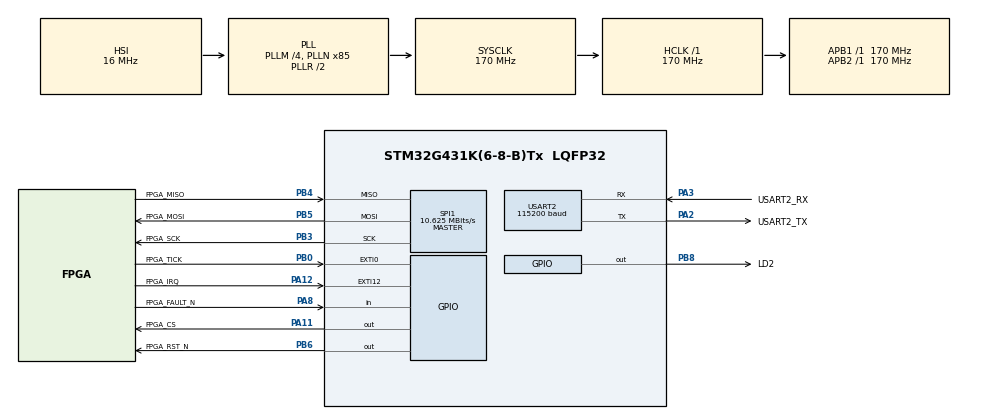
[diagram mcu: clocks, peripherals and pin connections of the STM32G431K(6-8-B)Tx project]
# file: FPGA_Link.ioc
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Dma.Request0=SPI1_RX
Dma.Request1=SPI1_TX
Dma.SPI1_RX.0.Direction=DMA_PERIPH_TO_MEMORY
Dma.SPI1_RX.0.EventEnable=DISABLE
Dma.SPI1_RX.0.Instance=DMA1_Channel1
Dma.SPI1_RX.0.MemDataAlignment=DMA_MDATAALIGN_BYTE
Dma.SPI1_RX.0.MemInc=DMA_MINC_ENABLE
Dma.SPI1_RX.0.Mode=DMA_NORMAL
Dma.SPI1_RX.0.PeriphDataAlignment=DMA_PDATAALIGN_BYTE
Dma.SPI1_RX.0.PeriphInc=DMA_PINC_DISABLE
Dma.SPI1_RX.0.Polarity=HAL_DMAMUX_REQ_GEN_RISING
Dma.SPI1_RX.0.Priority=DMA_PRIORITY_LOW
Dma.SPI1_RX.0.RequestNumber=1
Dma.SPI1_RX.0.SignalID=NONE
Dma.SPI1_RX.0.SyncEnable=DISABLE
Dma.SPI1_RX.0.SyncPolarity=HAL_DMAMUX_SYNC_NO_EVENT
Dma.SPI1_RX.0.SyncRequestNumber=1
Dma.SPI1_RX.0.SyncSignalID=NONE
Dma.SPI1_TX.1.Direction=DMA_MEMORY_TO_PERIPH
Dma.SPI1_TX.1.EventEnable=DISABLE
Dma.SPI1_TX.1.Instance=DMA1_Channel2
Dma.SPI1_TX.1.MemDataAlignment=DMA_MDATAALIGN_BYTE
Dma.SPI1_TX.1.MemInc=DMA_MINC_ENABLE
Dma.SPI1_TX.1.Mode=DMA_NORMAL
Dma.SPI1_TX.1.PeriphDataAlignment=DMA_PDATAALIGN_BYTE
Dma.SPI1_TX.1.PeriphInc=DMA_PINC_DISABLE
Dma.SPI1_TX.1.Polarity=HAL_DMAMUX_REQ_GEN_RISING
Dma.SPI1_TX.1.Priority=DMA_PRIORITY_LOW
Dma.SPI1_TX.1.RequestNumber=1
Dma.SPI1_TX.1.SignalID=NONE
Dma.SPI1_TX.1.SyncEnable=DISABLE
Dma.SPI1_TX.1.SyncPolarity=HAL_DMAMUX_SYNC_NO_EVENT
Dma.SPI1_TX.1.SyncRequestNumber=1
Dma.SPI1_TX.1.SyncSignalID=NONE
Mcu.Family=STM32G4
Mcu.Name=STM32G431K(6-8-B)Tx
Mcu.Package=LQFP32
NVIC.DMA1_Channel1_IRQn=true\:1\:0\:false\:false\:true\:false\:true\:true
NVIC.DMA1_Channel2_IRQn=true\:0\:0\:false\:false\:true\:false\:true\:true
NVIC.EXTI0_IRQn=true\:1\:0\:false\:false\:true\:true\:true\:true
NVIC.EXTI15_10_IRQn=true\:2\:0\:false\:false\:true\:true\:true\:true
NVIC.PriorityGroup=NVIC_PRIORITYGROUP_4
PA11.GPIO_Label=FPGA_CS
PA11.GPIO_Speed=GPIO_SPEED_FREQ_VERY_HIGH
PA11.PinState=GPIO_PIN_SET
PA11.Signal=GPIO_Output
PA12.GPIO_Label=FPGA_IRQ
PA12.GPIO_ModeDefaultEXTI=GPIO_MODE_IT_RISING
PA12.GPIO_PuPd=GPIO_PULLDOWN
PA12.Signal=GPXTI12
PA13.Mode=Serial_Wire
PA13.Signal=SYS_JTMS-SWDIO
PA14.Mode=Serial_Wire
PA14.Signal=SYS_JTCK-SWCLK
PA2.GPIO_Label=USART2_TX
PA2.Mode=Asynchronous
PA2.Signal=USART2_TX
PA3.GPIO_Label=USART2_RX
PA3.Mode=Asynchronous
PA3.Signal=USART2_RX
PA8.GPIO_Label=FPGA_FAULT_N
PA8.GPIO_PuPd=GPIO_PULLUP
PA8.Signal=GPIO_Input
PB0.GPIO_Label=FPGA_TICK
PB0.GPIO_ModeDefaultEXTI=GPIO_MODE_IT_RISING
PB0.GPIO_PuPd=GPIO_PULLDOWN
PB0.Signal=GPXTI0
PB3.GPIO_Label=FPGA_SCK
PB3.GPIO_Speed=GPIO_SPEED_FREQ_VERY_HIGH
PB3.Mode=Full_Duplex_Master
PB3.Signal=SPI1_SCK
PB4.GPIO_Label=FPGA_MISO
PB4.GPIO_Speed=GPIO_SPEED_FREQ_VERY_HIGH
PB4.Mode=Full_Duplex_Master
PB4.Signal=SPI1_MISO
PB5.GPIO_Label=FPGA_MOSI
PB5.GPIO_Speed=GPIO_SPEED_FREQ_VERY_HIGH
PB5.Mode=Full_Duplex_Master
PB5.Signal=SPI1_MOSI
PB6.GPIO_Label=FPGA_RST_N
PB6.PinState=GPIO_PIN_SET
PB6.Signal=GPIO_Output
PB8-BOOT0.GPIO_Label=LD2
PB8-BOOT0.Signal=GPIO_Output
ProjectManager.HeapSize=0x200
ProjectManager.StackSize=0x400
ProjectManager.TargetToolchain=STM32CubeIDE
RCC.ADC12Freq_Value=170000000
RCC.AHBFreq_Value=170000000
RCC.APB1Freq_Value=170000000
RCC.APB1TimFreq_Value=170000000
RCC.APB2Freq_Value=170000000
RCC.APB2TimFreq_Value=170000000
RCC.CortexFreq_Value=170000000
RCC.EXTERNAL_CLOCK_VALUE=12288000
RCC.HCLKFreq_Value=170000000
RCC.HSE_VALUE=24000000
RCC.HSI48_VALUE=48000000
RCC.HSI_VALUE=16000000
RCC.LSE_VALUE=32768
RCC.PLLM=RCC_PLLM_DIV4
RCC.PLLN=85
RCC.SYSCLKFreq_VALUE=170000000
RCC.SYSCLKSource=RCC_SYSCLKSOURCE_PLLCLK
RCC.USBFreq_Value=170000000
RCC.VCOOutputFreq_Value=340000000
SPI1.BaudRatePrescaler=SPI_BAUDRATEPRESCALER_16
SPI1.CLKPhase=SPI_PHASE_1EDGE
SPI1.CLKPolarity=SPI_POLARITY_LOW
SPI1.CRCCalculation=SPI_CRCCALCULATION_DISABLE
SPI1.CalculateBaudRate=10.625 MBits/s
SPI1.DataSize=SPI_DATASIZE_8BIT
SPI1.Direction=SPI_DIRECTION_2LINES
SPI1.FirstBit=SPI_FIRSTBIT_MSB
SPI1.Mode=SPI_MODE_MASTER
SPI1.NSS=SPI_NSS_SOFT
SPI1.NSSPMode=SPI_NSS_PULSE_DISABLE
SPI1.VirtualType=VM_MASTER
USART2.BaudRate=115200
USART2.VirtualMode-Asynchronous=VM_ASYNC
VP_SYS_VS_DBSignals.Mode=DisableDeadBatterySignals
board=custom

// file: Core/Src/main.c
/* USER CODE BEGIN Header */
/**
  ******************************************************************************
  * @file           : main.c
  * @brief          : FPGA_Link - Nucleo-G431KB <-> Basys 3 SPI register link
  *                   bring-up firmware.
  *
  * Pins (see FPGA_Link.ioc):
  *   SPI1  PB3 SCK (D13), PB4 MISO (D12), PB5 MOSI (D11)   -> Pmod JA1/JA3/JA2
  *   PA11  FPGA_CS      (D10) output, idle high             -> JA4
  *   PA12  FPGA_IRQ     (D2)  EXTI rising, pull-down        <- JA7
  *   PB0   FPGA_TICK    (D3)  EXTI rising, pull-down        <- JA8
  *   PB6   FPGA_RST_N   (D6)  output, idle high             -> JA9
  *   PA8   FPGA_FAULT_N (D9)  input, pull-up                <- JA10
  *   USART2 PA2/PA3 -> ST-LINK virtual COM port, 115200 8N1 (printf)
  *   PB8   LD2 user LED: slow blink = link up, fast blink = no FPGA
  ******************************************************************************
  */
/* USER CODE END Header */
#include "main.h"

/* USER CODE BEGIN Includes */
#include <stdio.h>
#include "fpga_link_app.h"
/* USER CODE END Includes */

SPI_HandleTypeDef hspi1;
DMA_HandleTypeDef hdma_spi1_rx;
DMA_HandleTypeDef hdma_spi1_tx;

UART_HandleTypeDef huart2;

void SystemClock_Config(void);
static void MX_GPIO_Init(void);
static void MX_DMA_Init(void);
static void MX_SPI1_Init(void);
static void MX_USART2_UART_Init(void);

/* USER CODE BEGIN 0 */

/* printf -> ST-LINK virtual COM port (syscalls.c _write calls this) */
int __io_putchar(int ch)
{
  uint8_t c = (uint8_t)ch;
  HAL_UART_Transmit(&huart2, &c, 1, HAL_MAX_DELAY);
  return ch;
}

/* USER CODE END 0 */

int main(void)
{

  /* MCU Configuration--------------------------------------------------------*/

  /* Reset of all peripherals, Initializes the Flash interface and the Systick. */
  HAL_Init();

  /* Configure the system clock */
  SystemClock_Config();

  /* Initialize all configured peripherals */
  MX_GPIO_Init();
  MX_DMA_Init();
  MX_SPI1_Init();
  MX_USART2_UART_Init();
  /* USER CODE BEGIN 2 */
  setvbuf(stdout, NULL, _IONBF, 0);
  fpga_app_init();
  /* USER CODE END 2 */

  /* Infinite loop */
  /* USER CODE BEGIN WHILE */
  uint32_t last_blink = 0;
  while (1)
  {
    /* USER CODE END WHILE */

    /* USER CODE BEGIN 3 */
    fpga_app_poll();

    uint32_t period = fpga_app_link_up() ? 500u : 100u;
    if (HAL_GetTick() - last_blink >= period)
    {
      last_blink = HAL_GetTick();
      HAL_GPIO_TogglePin(LD2_GPIO_Port, LD2_Pin);
    }
  }
  /* USER CODE END 3 */
}

void SystemClock_Config(void)
{
  RCC_OscInitTypeDef RCC_OscInitStruct = {0};
  RCC_ClkInitTypeDef RCC_ClkInitStruct = {0};

  /** Configure the main internal regulator output voltage
  */
  HAL_PWREx_ControlVoltageScaling(PWR_REGULATOR_VOLTAGE_SCALE1_BOOST);

  /** Initializes the RCC Oscillators according to the specified parameters
  * in the RCC_OscInitTypeDef structure.
  */
  RCC_OscInitStruct.OscillatorType = RCC_OSCILLATORTYPE_HSI;
  RCC_OscInitStruct.HSIState = RCC_HSI_ON;
  RCC_OscInitStruct.HSICalibrationValue = RCC_HSICALIBRATION_DEFAULT;
  RCC_OscInitStruct.PLL.PLLState = RCC_PLL_ON;
  RCC_OscInitStruct.PLL.PLLSource = RCC_PLLSOURCE_HSI;
  RCC_OscInitStruct.PLL.PLLM = RCC_PLLM_DIV4;
  RCC_OscInitStruct.PLL.PLLN = 85;
  RCC_OscInitStruct.PLL.PLLP = RCC_PLLP_DIV2;
  RCC_OscInitStruct.PLL.PLLQ = RCC_PLLQ_DIV2;
  RCC_OscInitStruct.PLL.PLLR = RCC_PLLR_DIV2;
  if (HAL_RCC_OscConfig(&RCC_OscInitStruct) != HAL_OK)
  {
    Error_Handler();
  }

  /** Initializes the CPU, AHB and APB buses clocks
  */
  RCC_ClkInitStruct.ClockType = RCC_CLOCKTYPE_HCLK|RCC_CLOCKTYPE_SYSCLK
                              |RCC_CLOCKTYPE_PCLK1|RCC_CLOCKTYPE_PCLK2;
  RCC_ClkInitStruct.SYSCLKSource = RCC_SYSCLKSOURCE_PLLCLK;
  RCC_ClkInitStruct.AHBCLKDivider = RCC_SYSCLK_DIV1;
  RCC_ClkInitStruct.APB1CLKDivider = RCC_HCLK_DIV1;
  RCC_ClkInitStruct.APB2CLKDivider = RCC_HCLK_DIV1;

  if (HAL_RCC_ClockConfig(&RCC_ClkInitStruct, FLASH_LATENCY_4) != HAL_OK)
  {
    Error_Handler();
  }
}

static void MX_SPI1_Init(void)
{

  /* SPI1 parameter configuration*/
  hspi1.Instance = SPI1;
  hspi1.Init.Mode = SPI_MODE_MASTER;
  hspi1.Init.Direction = SPI_DIRECTION_2LINES;
  hspi1.Init.DataSize = SPI_DATASIZE_8BIT;
  hspi1.Init.CLKPolarity = SPI_POLARITY_LOW;
  hspi1.Init.CLKPhase = SPI_PHASE_1EDGE;
  hspi1.Init.NSS = SPI_NSS_SOFT;
  hspi1.Init.BaudRatePrescaler = SPI_BAUDRATEPRESCALER_16;
  hspi1.Init.FirstBit = SPI_FIRSTBIT_MSB;
  hspi1.Init.TIMode = SPI_TIMODE_DISABLE;
  hspi1.Init.CRCCalculation = SPI_CRCCALCULATION_DISABLE;
  hspi1.Init.CRCPolynomial = 7;
  hspi1.Init.CRCLength = SPI_CRC_LENGTH_DATASIZE;
  hspi1.Init.NSSPMode = SPI_NSS_PULSE_DISABLE;
  if (HAL_SPI_Init(&hspi1) != HAL_OK)
  {
    Error_Handler();
  }

}

static void MX_USART2_UART_Init(void)
{

  huart2.Instance = USART2;
  huart2.Init.BaudRate = 115200;
  huart2.Init.WordLength = UART_WORDLENGTH_8B;
  huart2.Init.StopBits = UART_STOPBITS_1;
  huart2.Init.Parity = UART_PARITY_NONE;
  huart2.Init.Mode = UART_MODE_TX_RX;
  huart2.Init.HwFlowCtl = UART_HWCONTROL_NONE;
  huart2.Init.OverSampling = UART_OVERSAMPLING_16;
  huart2.Init.OneBitSampling = UART_ONE_BIT_SAMPLE_DISABLE;
  huart2.Init.ClockPrescaler = UART_PRESCALER_DIV1;
  huart2.AdvancedInit.AdvFeatureInit = UART_ADVFEATURE_NO_INIT;
  if (HAL_UART_Init(&huart2) != HAL_OK)
  {
    Error_Handler();
  }
  if (HAL_UARTEx_SetTxFifoThreshold(&huart2, UART_TXFIFO_THRESHOLD_1_8) != HAL_OK)
  {
    Error_Handler();
  }
  if (HAL_UARTEx_SetRxFifoThreshold(&huart2, UART_RXFIFO_THRESHOLD_1_8) != HAL_OK)
  {
    Error_Handler();
  }
  if (HAL_UARTEx_DisableFifoMode(&huart2) != HAL_OK)
  {
    Error_Handler();
  }

}

static void MX_DMA_Init(void)
{

  /* DMA controller clock enable */
  __HAL_RCC_DMAMUX1_CLK_ENABLE();
  __HAL_RCC_DMA1_CLK_ENABLE();

  /* DMA interrupt init */
  /* DMA1_Channel1_IRQn interrupt configuration */
  HAL_NVIC_SetPriority(DMA1_Channel1_IRQn, 1, 0);
  HAL_NVIC_EnableIRQ(DMA1_Channel1_IRQn);
  /* DMA1_Channel2_IRQn interrupt configuration */
  HAL_NVIC_SetPriority(DMA1_Channel2_IRQn, 0, 0);
  HAL_NVIC_EnableIRQ(DMA1_Channel2_IRQn);

}

static void MX_GPIO_Init(void)
{
  GPIO_InitTypeDef GPIO_InitStruct = {0};

  /* GPIO Ports Clock Enable */
  __HAL_RCC_GPIOA_CLK_ENABLE();
  __HAL_RCC_GPIOB_CLK_ENABLE();

  /*Configure GPIO pin Output Level */
  HAL_GPIO_WritePin(FPGA_CS_GPIO_Port, FPGA_CS_Pin, GPIO_PIN_SET);

  /*Configure GPIO pin Output Level */
  HAL_GPIO_WritePin(FPGA_RST_N_GPIO_Port, FPGA_RST_N_Pin, GPIO_PIN_SET);

  /*Configure GPIO pin Output Level */
  HAL_GPIO_WritePin(LD2_GPIO_Port, LD2_Pin, GPIO_PIN_RESET);

  /*Configure GPIO pin : FPGA_TICK_Pin */
  GPIO_InitStruct.Pin = FPGA_TICK_Pin;
  GPIO_InitStruct.Mode = GPIO_MODE_IT_RISING;
  GPIO_InitStruct.Pull = GPIO_PULLDOWN;
  HAL_GPIO_Init(FPGA_TICK_GPIO_Port, &GPIO_InitStruct);

  /*Configure GPIO pin : FPGA_FAULT_N_Pin */
  GPIO_InitStruct.Pin = FPGA_FAULT_N_Pin;
  GPIO_InitStruct.Mode = GPIO_MODE_INPUT;
  GPIO_InitStruct.Pull = GPIO_PULLUP;
  HAL_GPIO_Init(FPGA_FAULT_N_GPIO_Port, &GPIO_InitStruct);

  /*Configure GPIO pin : FPGA_CS_Pin */
  GPIO_InitStruct.Pin = FPGA_CS_Pin;
  GPIO_InitStruct.Mode = GPIO_MODE_OUTPUT_PP;
  GPIO_InitStruct.Pull = GPIO_NOPULL;
  GPIO_InitStruct.Speed = GPIO_SPEED_FREQ_VERY_HIGH;
  HAL_GPIO_Init(FPGA_CS_GPIO_Port, &GPIO_InitStruct);

  /*Configure GPIO pin : FPGA_IRQ_Pin */
  GPIO_InitStruct.Pin = FPGA_IRQ_Pin;
  GPIO_InitStruct.Mode = GPIO_MODE_IT_RISING;
  GPIO_InitStruct.Pull = GPIO_PULLDOWN;
  HAL_GPIO_Init(FPGA_IRQ_GPIO_Port, &GPIO_InitStruct);

  /*Configure GPIO pins : FPGA_RST_N_Pin LD2_Pin */
  GPIO_InitStruct.Pin = FPGA_RST_N_Pin|LD2_Pin;
  GPIO_InitStruct.Mode = GPIO_MODE_OUTPUT_PP;
  GPIO_InitStruct.Pull = GPIO_NOPULL;
  GPIO_InitStruct.Speed = GPIO_SPEED_FREQ_LOW;
  HAL_GPIO_Init(GPIOB, &GPIO_InitStruct);

  /* EXTI interrupt init*/
  HAL_NVIC_SetPriority(EXTI0_IRQn, 1, 0);
  HAL_NVIC_EnableIRQ(EXTI0_IRQn);

  HAL_NVIC_SetPriority(EXTI15_10_IRQn, 2, 0);
  HAL_NVIC_EnableIRQ(EXTI15_10_IRQn);

}

void Error_Handler(void)
{
  /* USER CODE BEGIN Error_Handler_Debug */
  /* LD2 on solid: a HAL init call failed */
  __disable_irq();
  HAL_GPIO_WritePin(LD2_GPIO_Port, LD2_Pin, GPIO_PIN_SET);
  while (1)
  {
  }
  /* USER CODE END Error_Handler_Debug */
}
#ifdef USE_FULL_ASSERT
/**
  * @brief  Reports the name of the source file and the source line number
  *         where the assert_param error has occurred.
  * @param  file: pointer to the source file name
  * @param  line: assert_param error line source number
  * @retval None
  */
void assert_failed(uint8_t *file, uint32_t line)
{
  /* USER CODE BEGIN 6 */
  (void)file;
  (void)line;
  /* USER CODE END 6 */
}
#endif /* USE_FULL_ASSERT */
